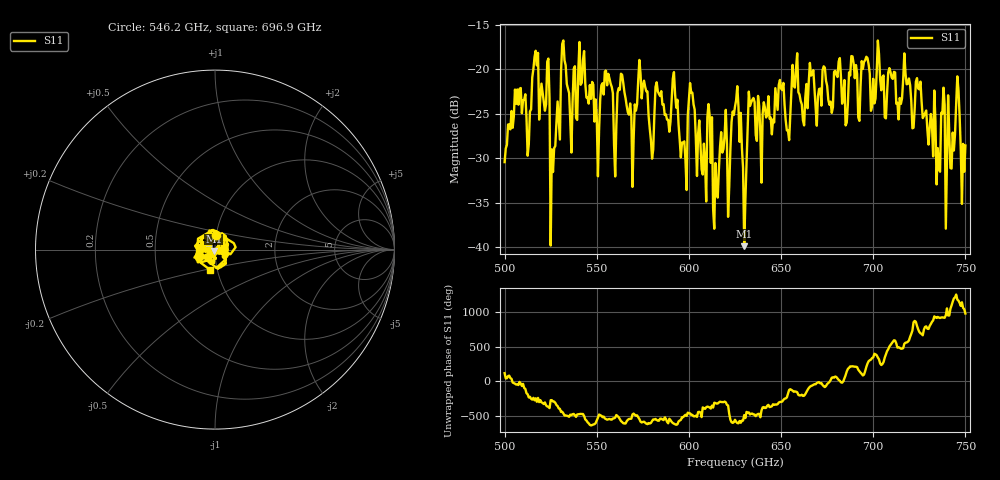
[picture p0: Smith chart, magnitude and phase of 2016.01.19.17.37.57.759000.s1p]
!Created with skrf (http://scikit-rf.org).
# GHz S RI R 50.0
!freq ReS11 ImS11
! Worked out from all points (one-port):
!   401 points, 500 GHz to 750 GHz, reference 50 ohm
!   lowest |S11| = -39.9 dB at 630 GHz (marker M1), VSWR 1.02, Z = 49.3 - j0.737 ohm
!   |S11| at or under -10 dB: start of sweep to end of sweep
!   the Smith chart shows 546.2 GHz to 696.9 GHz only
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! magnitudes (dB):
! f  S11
! 500 GHz  -30.5
! 506.9 GHz  -22.3
! 513.1 GHz  -28.4
! 516.9 GHz  -17.9
! 523.1 GHz  -19.1
! 526.2 GHz  -31.6
! 531.2 GHz  -17.2
! 550 GHz  -25.5
! 562.5 GHz  -22.3
! 568.8 GHz  -25.3
! 573.8 GHz  -20.6
! 579.4 GHz  -28.0
! 583.1 GHz  -22.5
! 593.8 GHz  -23.4
! 597.5 GHz  -28.1
! 601.9 GHz  -22.6
! 608.1 GHz  -28.4
! 611.2 GHz  -25.2
! 614.4 GHz  -30.5
! 625 GHz  -24.2
! 630 GHz  -39.9
! 633.8 GHz  -23.8
! 656.2 GHz  -19.5
! 687.5 GHz  -20.7
! 718.8 GHz  -21.6
! 735 GHz  -28.9
! 745.6 GHz  -20.8
! 750 GHz  -28.6
